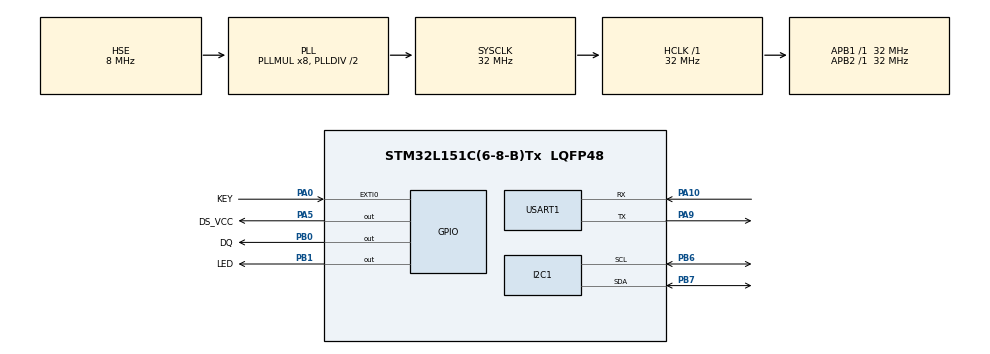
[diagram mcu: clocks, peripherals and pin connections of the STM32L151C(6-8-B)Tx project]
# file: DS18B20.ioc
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Mcu.Family=STM32L1
Mcu.Name=STM32L151C(6-8-B)Tx
Mcu.Package=LQFP48
NVIC.EXTI0_IRQn=true\:2\:0\:true
NVIC.PriorityGroup=NVIC_PRIORITYGROUP_4
NVIC.USART1_IRQn=true\:1\:0\:true
PA0-WKUP1.GPIO_Label=KEY
PA0-WKUP1.GPIO_ModeDefaultEXTI=GPIO_MODE_IT_RISING
PA0-WKUP1.GPIO_PuPd=GPIO_PULLDOWN
PA0-WKUP1.Signal=GPXTI0
PA10.Mode=Asynchronous
PA10.Signal=USART1_RX
PA13.Mode=Serial-Wire
PA13.Signal=SYS_JTMS-SWDIO
PA14.Mode=Serial-Wire
PA14.Signal=SYS_JTCK-SWCLK
PA5.GPIO_Label=DS_VCC
PA5.GPIO_ModeDefaultOutputPP=GPIO_MODE_OUTPUT_PP
PA5.GPIO_PuPd=GPIO_PULLUP
PA5.Signal=GPIO_Output
PA9.Mode=Asynchronous
PA9.Signal=USART1_TX
PB0.GPIO_Label=DQ
PB0.GPIO_ModeDefaultOutputPP=GPIO_MODE_OUTPUT_OD
PB0.GPIO_PuPd=GPIO_PULLUP
PB0.GPIO_Speed=GPIO_SPEED_HIGH
PB0.Signal=GPIO_Output
PB1.GPIO_Label=LED
PB1.GPIO_PuPd=GPIO_PULLUP
PB1.Signal=GPIO_Output
PB6.Mode=I2C
PB6.Signal=I2C1_SCL
PB7.Mode=I2C
PB7.Signal=I2C1_SDA
PC14-OSC32_IN.Mode=LSE-External-Oscillator
PC14-OSC32_IN.Signal=RCC_OSC32_IN
PC15-OSC32_OUT.Mode=LSE-External-Oscillator
PC15-OSC32_OUT.Signal=RCC_OSC32_OUT
PH0-OSC_IN.Mode=HSE-External-Oscillator
PH0-OSC_IN.Signal=RCC_OSC_IN
PH1-OSC_OUT.Mode=HSE-External-Oscillator
PH1-OSC_OUT.Signal=RCC_OSC_OUT
ProjectManager.HeapSize=0x400
ProjectManager.StackSize=0x200
ProjectManager.TargetToolchain=MDK-ARM V5
RCC.AHBFreq_Value=32000000
RCC.APB1Freq_Value=32000000
RCC.APB1TimFreq_Value=32000000
RCC.APB2Freq_Value=32000000
RCC.APB2TimFreq_Value=32000000
RCC.HCLKFreq_Value=32000000
RCC.HSE_VALUE=8000000
RCC.HSI_VALUE=16000000
RCC.MSI_VALUE=2097000
RCC.PLLMUL=RCC_PLL_MUL8
RCC.PLLSourceVirtual=RCC_PLLSOURCE_HSE
RCC.SYSCLKFreq_VALUE=32000000
RCC.SYSCLKSource=RCC_SYSCLKSOURCE_PLLCLK
RCC.USBOutput=32000000
RCC.VCOOutputFreq_Value=64000000
board=DS18B20

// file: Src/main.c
/**
  ******************************************************************************
  * File Name          : main.c
  * Description        : Main program body
  ******************************************************************************
  *
  * COPYRIGHT(c) 2016 STMicroelectronics
  *
  * Redistribution and use in source and binary forms, with or without modification,
  * are permitted provided that the following conditions are met:
  *   1. Redistributions of source code must retain the above copyright notice,
  *      this list of conditions and the following disclaimer.
  *   2. Redistributions in binary form must reproduce the above copyright notice,
  *      this list of conditions and the following disclaimer in the documentation
  *      and/or other materials provided with the distribution.
  *   3. Neither the name of STMicroelectronics nor the names of its contributors
  *      may be used to endorse or promote products derived from this software
  *      without specific prior written permission.
  *
  * THIS SOFTWARE IS PROVIDED BY THE COPYRIGHT HOLDERS AND CONTRIBUTORS "AS IS"
  * AND ANY EXPRESS OR IMPLIED WARRANTIES, INCLUDING, BUT NOT LIMITED TO, THE
  * IMPLIED WARRANTIES OF MERCHANTABILITY AND FITNESS FOR A PARTICULAR PURPOSE ARE
  * DISCLAIMED. IN NO EVENT SHALL THE COPYRIGHT HOLDER OR CONTRIBUTORS BE LIABLE
  * FOR ANY DIRECT, INDIRECT, INCIDENTAL, SPECIAL, EXEMPLARY, OR CONSEQUENTIAL
  * DAMAGES (INCLUDING, BUT NOT LIMITED TO, PROCUREMENT OF SUBSTITUTE GOODS OR
  * SERVICES; LOSS OF USE, DATA, OR PROFITS; OR BUSINESS INTERRUPTION) HOWEVER
  * CAUSED AND ON ANY THEORY OF LIABILITY, WHETHER IN CONTRACT, STRICT LIABILITY,
  * OR TORT (INCLUDING NEGLIGENCE OR OTHERWISE) ARISING IN ANY WAY OUT OF THE USE
  * OF THIS SOFTWARE, EVEN IF ADVISED OF THE POSSIBILITY OF SUCH DAMAGE.
  *
  ******************************************************************************
  */
#include "stm32l1xx_hal.h"
#include "i2c.h"
#include "usart.h"
#include "gpio.h"

/* USER CODE BEGIN Includes */
#include "BSP_drive.h"
#include "delay.h"
#include "ds18b20.h"
/* USER CODE END Includes */

/* USER CODE BEGIN PV */
/* Private variables ---------------------------------------------------------*/

/* USER CODE END PV */

void SystemClock_Config(void);

/* USER CODE BEGIN PFP */
/* Private function prototypes -----------------------------------------------*/

/* USER CODE END PFP */

int main(void)
{

  /* USER CODE BEGIN 1 */
  uint8_t i=0,j=0;
	float temp;
  /* USER CODE END 1 */

  /* MCU Configuration----------------------------------------------------------*/

  /* Reset of all peripherals, Initializes the Flash interface and the Systick. */
  HAL_Init();

  /* Configure the system clock */
  SystemClock_Config();

  /* Initialize all configured peripherals */
  MX_GPIO_Init();
  MX_I2C1_Init();
  MX_USART1_UART_Init();

  /* USER CODE BEGIN 2 */
  delay_init();
  DS18B20_Init();
  printf("\r\n\r\n ------- DS18b20 DEVICE -------\r\n");
  while(Ds18b_Len>j){
	printf("Device %d : 0x",tDs18b[j].device);
	for(i=0;i<8;i++)
	  printf("%02X",tDs18b[j].romAddr[i]);
	printf("\r\n");
	j++;
  };
  /* USER CODE END 2 */

  /* Infinite loop */
  /* USER CODE BEGIN WHILE */
  while (1)
  {
	HAL_Delay(1000);
	LED_TOG;

//	DS18B20_Get_Temp(0);
//	printf("DS18b: %3.3f\r\n",tDs18b[0].temp);

	temp = DS18B20_Get_Temp(SKIP_ROM);
	printf("DS18b: %3.3f\r\n",temp);

  /* USER CODE END WHILE */

  }

}

/** System Clock Configuration
*/
void SystemClock_Config(void)
{

  RCC_OscInitTypeDef RCC_OscInitStruct;
  RCC_ClkInitTypeDef RCC_ClkInitStruct;

  __PWR_CLK_ENABLE();

  __HAL_PWR_VOLTAGESCALING_CONFIG(PWR_REGULATOR_VOLTAGE_SCALE1);

  RCC_OscInitStruct.OscillatorType = RCC_OSCILLATORTYPE_HSE;
  RCC_OscInitStruct.HSEState = RCC_HSE_ON;
  RCC_OscInitStruct.PLL.PLLState = RCC_PLL_ON;
  RCC_OscInitStruct.PLL.PLLSource = RCC_PLLSOURCE_HSE;
  RCC_OscInitStruct.PLL.PLLMUL = RCC_PLL_MUL8;
  RCC_OscInitStruct.PLL.PLLDIV = RCC_PLL_DIV2;
  HAL_RCC_OscConfig(&RCC_OscInitStruct);

  RCC_ClkInitStruct.ClockType = RCC_CLOCKTYPE_HCLK|RCC_CLOCKTYPE_SYSCLK
                              |RCC_CLOCKTYPE_PCLK1|RCC_CLOCKTYPE_PCLK2;
  RCC_ClkInitStruct.SYSCLKSource = RCC_SYSCLKSOURCE_PLLCLK;
  RCC_ClkInitStruct.AHBCLKDivider = RCC_SYSCLK_DIV1;
  RCC_ClkInitStruct.APB1CLKDivider = RCC_HCLK_DIV1;
  RCC_ClkInitStruct.APB2CLKDivider = RCC_HCLK_DIV1;
  HAL_RCC_ClockConfig(&RCC_ClkInitStruct, FLASH_LATENCY_1);

  HAL_SYSTICK_Config(HAL_RCC_GetHCLKFreq()/1000);

  HAL_SYSTICK_CLKSourceConfig(SYSTICK_CLKSOURCE_HCLK);

  /* SysTick_IRQn interrupt configuration */
  HAL_NVIC_SetPriority(SysTick_IRQn, 0, 0);
}

/************************ (C) COPYRIGHT STMicroelectronics *****END OF FILE****/
